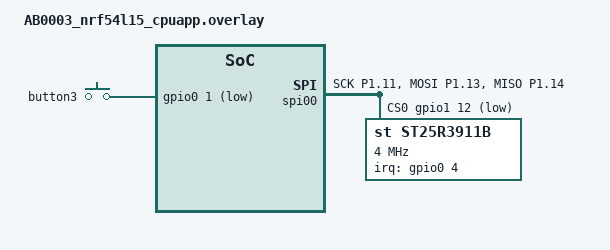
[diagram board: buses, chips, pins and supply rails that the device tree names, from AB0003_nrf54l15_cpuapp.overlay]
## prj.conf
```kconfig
CONFIG_LOG=y
CONFIG_LED_STRIP=n
CONFIG_LED_STRIP_LOG_LEVEL_DBG=n

CONFIG_SPI=n
CONFIG_I2C=n

CONFIG_LOG_BACKEND_UART=y

CONFIG_GPIO=y
CONFIG_NFCT_PINS_AS_GPIOS=y

CONFIG_CLOCK_CONTROL_NRF_K32SRC_RC=n
CONFIG_CLOCK_CONTROL_NRF=y
CONFIG_CLOCK_CONTROL_NRF_K32SRC_XTAL=y

CONFIG_CONSOLE=y
CONFIG_UART_CONSOLE=y

CONFIG_SHELL=y
CONFIG_I2C_SHELL=n

CONFIG_POWEROFF=y
```

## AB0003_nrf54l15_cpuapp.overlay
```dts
// To get started, press Ctrl+Space to bring up the completion menu and view the available nodes.

// You can also use the buttons in the sidebar to perform actions on nodes.
// Actions currently available include:

// * Enabling / disabling the node
// * Adding the bus to a bus
// * Removing the node
// * Connecting ADC channels

// For more help, browse the DeviceTree documentation at https: //docs.zephyrproject.org/latest/guides/dts/index.html
// You can also visit the nRF DeviceTree extension documentation at https: //docs.nordicsemi.com/bundle/nrf-connect-vscode/page/guides/ncs_configure_app.html#devicetree-support-in-the-extension
&spi00 {
	compatible = "nordic,nrf-spim";
	status = "okay";
	cs-gpios = <&gpio1 12 GPIO_ACTIVE_LOW>;

	pinctrl-0 = <&spi1_default_alt>;
	pinctrl-1 = <&spi1_sleep_alt>;
	pinctrl-names = "default", "sleep";

	st25r3911b@0 {
		compatible = "st,st25r3911b";
		reg = <0>;
		spi-max-frequency = <4000000>;
		irq-gpios = <&gpio0 4 GPIO_ACTIVE_HIGH>;
	};
	
};

&pinctrl {
	spi1_default_alt: spi1_default_alt {
		group1 {
			psels = <NRF_PSEL(SPIM_SCK, 1, 11)>,
			        <NRF_PSEL(SPIM_MOSI, 1, 13)>,
			        <NRF_PSEL(SPIM_MISO, 1, 14)>;
		};
	};

	spi1_sleep_alt: spi1_sleep_alt {
		group1 {
			psels = <NRF_PSEL(SPIM_SCK, 1, 11)>,
			        <NRF_PSEL(SPIM_MOSI, 1, 13)>,
			        <NRF_PSEL(SPIM_MISO, 1, 14)>;
			low-power-enable;
		};
	};

};
&button3 {
	gpios = <&gpio0 1 (GPIO_ACTIVE_LOW | GPIO_PULL_UP)>;
};

&mx25r64 {
	status = "disabled";
};

&nfct {
    status = "disabled";
};
```

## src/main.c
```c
/*
 * Copyright (c) 2016 Intel Corporation
 *
 * SPDX-License-Identifier: Apache-2.0
 */

#include <stdio.h>
#include <zephyr/kernel.h>
#include <zephyr/sys/printk.h>
#include <zephyr/logging/log.h>
#include <zephyr/drivers/gpio.h>

/* 1000 msec = 1 sec */
#define SLEEP_TIME_MS   1000

/* The devicetree node identifier for the "led0" alias. */
#define LED0_NODE DT_ALIAS(led0)

/*
 * A build error on this line means your board is unsupported.
 * See the sample documentation for information on how to fix this.
 */
static const struct gpio_dt_spec led = GPIO_DT_SPEC_GET(LED0_NODE, gpios);

int main(void)
{	
	
	printk("Starting Blinky\n");
	
	int ret;
	bool led_state = true;

	k_msleep(SLEEP_TIME_MS);

	if (!gpio_is_ready_dt(&led)) {
		return 0;
	}

	ret = gpio_pin_configure_dt(&led, GPIO_OUTPUT_ACTIVE);
	if (ret < 0) {
		return 0;
	}

	while (1) {
		ret = gpio_pin_toggle_dt(&led);
		//ret = gpio_pin_set_dt(&led,1);
		if (ret < 0) {
			printk("Error\n");
			//return 0;
		}

		led_state = !led_state;
		printk("LED state: %s\n", led_state ? "ON" : "OFF");
		k_msleep(SLEEP_TIME_MS);
	}
	return 0;
}
```
